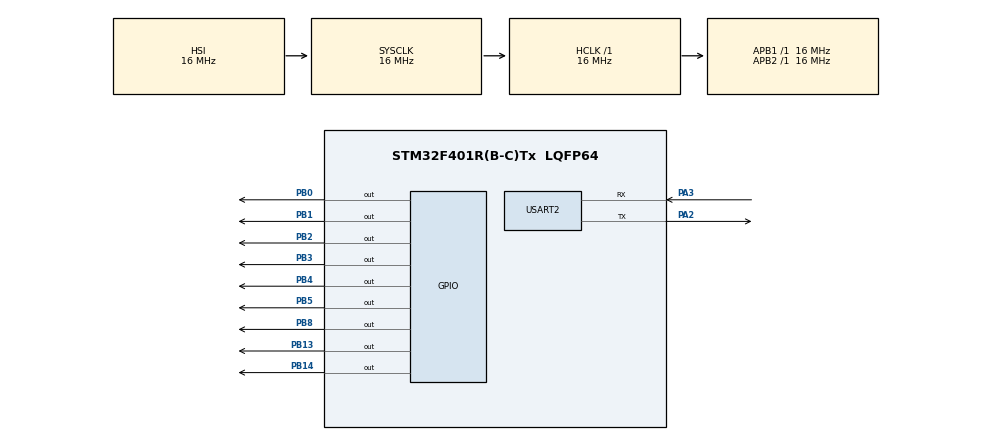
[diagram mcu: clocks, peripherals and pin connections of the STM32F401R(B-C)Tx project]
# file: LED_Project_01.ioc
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FREERTOS.Tasks01=LED_Task_01,24,256,StartLEDTask,Default,NULL,Dynamic,NULL,NULL;LCD_Task_02,24,256,StartLCDTask,Default,NULL,Dynamic,NULL,NULL;UART_Task_03,24,256,StartUARTTask,Default,NULL,Dynamic,NULL,NULL
Mcu.Family=STM32F4
Mcu.Name=STM32F401R(B-C)Tx
Mcu.Package=LQFP64
NVIC.PriorityGroup=NVIC_PRIORITYGROUP_4
NVIC.TIM1_BRK_TIM9_IRQn=true\:15\:0\:false\:false\:true\:false\:false\:true\:true
NVIC.TimeBase=TIM1_BRK_TIM9_IRQn
NVIC.TimeBaseIP=TIM9
NVIC.USART2_IRQn=true\:5\:0\:false\:false\:true\:true\:true\:true\:true
PA13.Mode=Serial_Wire
PA13.Signal=SYS_JTMS-SWDIO
PA14.Mode=Serial_Wire
PA14.Signal=SYS_JTCK-SWCLK
PA2.Mode=Asynchronous
PA2.Signal=USART2_TX
PA3.Mode=Asynchronous
PA3.Signal=USART2_RX
PB0.Signal=GPIO_Output
PB1.Signal=GPIO_Output
PB13.Signal=GPIO_Output
PB14.Signal=GPIO_Output
PB2.Signal=GPIO_Output
PB3.Signal=GPIO_Output
PB4.Signal=GPIO_Output
PB5.Signal=GPIO_Output
PB8.Signal=GPIO_Output
PC14-OSC32_IN.Mode=LSE-External-Oscillator
PC14-OSC32_IN.Signal=RCC_OSC32_IN
PC15-OSC32_OUT.Mode=LSE-External-Oscillator
PC15-OSC32_OUT.Signal=RCC_OSC32_OUT
PH0\ -\ OSC_IN.Mode=HSE-External-Oscillator
PH0\ -\ OSC_IN.Signal=RCC_OSC_IN
PH1\ -\ OSC_OUT.Mode=HSE-External-Oscillator
PH1\ -\ OSC_OUT.Signal=RCC_OSC_OUT
ProjectManager.HeapSize=0x200
ProjectManager.StackSize=0x400
ProjectManager.TargetToolchain=STM32CubeIDE
RCC.AHBFreq_Value=16000000
RCC.APB1Freq_Value=16000000
RCC.APB2Freq_Value=16000000
RCC.CortexFreq_Value=16000000
RCC.HSE_VALUE=25000000
RCC.HSI_VALUE=16000000
RCC.SYSCLKFreq_VALUE=16000000
RCC.VCOOutputFreq_Value=192000000
USART2.VirtualMode=VM_ASYNC
VP_FREERTOS_VS_CMSIS_V2.Mode=CMSIS_V2
VP_SYS_VS_tim9.Mode=TIM9
board=custom

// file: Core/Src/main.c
/* USER CODE BEGIN Header */
/**
 ******************************************************************************
 * @file           : main.c
 * @brief          : Main program body
 ******************************************************************************
 * @attention
 *
 * Copyright (c) 2026 STMicroelectronics.
 * All rights reserved.
 *
 * This software is licensed under terms that can be found in the LICENSE file
 * in the root directory of this software component.
 * If no LICENSE file comes with this software, it is provided AS-IS.
 *
 ******************************************************************************
 */

/* USER CODE BEGIN Header */
/**
 ******************************************************************************
 * @file           : main.c
 * @brief          : Project 1 - LED + LCD + UART using FreeRTOS
 ******************************************************************************
 * Project:
 * STM32F401RBT6
 *
 * Concepts:
 * - GPIO
 * - GPIO Clock
 * - System Clock
 * - SysTick
 * - LED
 * - LCD
 * - UART2 Debugging
 * - FreeRTOS Tasks
 * - osDelay()
 * - Task Priority
 * - Context Switching
 * - SWD
 * - Registers
 *
 ******************************************************************************
 */
/* USER CODE END Header */

/* USER CODE END Header */
#include "main.h"
#include "cmsis_os.h"

/* USER CODE BEGIN Includes */
#include "komal_lcd_driver.h"
#include <string.h>
/* USER CODE END Includes */

/* USER CODE BEGIN PD */

/* LED Pin Definitions */
#define RED_LED_PIN       GPIO_PIN_13
#define GREEN_LED_PIN     GPIO_PIN_14
#define LED_PORT          GPIOB

/* LED timing */
#define LED_DELAY_MS      1000U

/* USER CODE END PD */

UART_HandleTypeDef huart2;

/* Definitions for LED_Task_01 */
osThreadId_t LED_Task_01Handle;
const osThreadAttr_t LED_Task_01_attributes = { .name = "LED_Task_01",
		.stack_size = 256 * 4, .priority = (osPriority_t) osPriorityNormal, };
/* Definitions for LCD_Task_02 */
osThreadId_t LCD_Task_02Handle;
const osThreadAttr_t LCD_Task_02_attributes = { .name = "LCD_Task_02",
		.stack_size = 256 * 4, .priority = (osPriority_t) osPriorityNormal, };
/* Definitions for UART_Task_03 */
osThreadId_t UART_Task_03Handle;
const osThreadAttr_t UART_Task_03_attributes = { .name = "UART_Task_03",
		.stack_size = 256 * 4, .priority = (osPriority_t) osPriorityNormal, };

void SystemClock_Config(void);
static void MX_GPIO_Init(void);
static void MX_USART2_UART_Init(void);
void StartLEDTask(void *argument);
void StartLCDTask(void *argument);
void StartUARTTask(void *argument);

/* USER CODE BEGIN 0 */

/**
 * @brief Send string through UART2
 *
 * This function is used only for UART debugging.
 */
static void UART_Debug(char *message) {
	HAL_UART_Transmit(&huart2, (uint8_t*) message, strlen(message),
			HAL_MAX_DELAY);
}

/* USER CODE END 0 */

int main(void) {

	/* MCU Configuration--------------------------------------------------------*/

	/* Reset of all peripherals, Initializes the Flash interface and the Systick. */
	HAL_Init();

	/* Configure the system clock */
	SystemClock_Config();

	/* Initialize all configured peripherals */
	MX_GPIO_Init();
	MX_USART2_UART_Init();
	/* USER CODE BEGIN 2 */

	/*
	 * Initialize LCD before starting RTOS scheduler.
	 *
	 * LCD driver:
	 * PB0  -> D4
	 * PB1  -> D5
	 * PB2  -> D6
	 * PB3  -> D7
	 * PB4  -> RS
	 * PB5  -> RW
	 * PB8  -> EN
	 */
	LCD_Init();

	/*
	 * Initial LCD status
	 */
	LCD_Clear();

	LCD_SetCursor(1, 1);
	LCD_String("RED LED: OFF   ");

	LCD_SetCursor(2, 1);
	LCD_String("GREEN LED: OFF");

	/*
	 * Initial UART debug message
	 */
	UART_Debug("\r\n");
	UART_Debug("================================\r\n");
	UART_Debug(" Project 1 Started\r\n");
	UART_Debug(" LED + LCD + UART + FreeRTOS\r\n");
	UART_Debug("================================\r\n");
	UART_Debug("RED LED   : OFF\r\n");
	UART_Debug("GREEN LED : OFF\r\n\r\n");

	/* USER CODE END 2 */

	/* Init scheduler */
	osKernelInitialize();

	/* Create the thread(s) */
	/* creation of LED_Task_01 */
	LED_Task_01Handle = osThreadNew(StartLEDTask, NULL,
			&LED_Task_01_attributes);

	/* creation of LCD_Task_02 */
	LCD_Task_02Handle = osThreadNew(StartLCDTask, NULL,
			&LCD_Task_02_attributes);

	/* creation of UART_Task_03 */
	UART_Task_03Handle = osThreadNew(StartUARTTask, NULL,
			&UART_Task_03_attributes);

	/* Start scheduler */
	osKernelStart();

	/* We should never get here as control is now taken by the scheduler */

	/* Infinite loop */
	while (1) {

	}
}

void SystemClock_Config(void) {
	RCC_OscInitTypeDef RCC_OscInitStruct = { 0 };
	RCC_ClkInitTypeDef RCC_ClkInitStruct = { 0 };

	/** Configure the main internal regulator output voltage
	 */
	__HAL_RCC_PWR_CLK_ENABLE();
	__HAL_PWR_VOLTAGESCALING_CONFIG(PWR_REGULATOR_VOLTAGE_SCALE2);

	/** Initializes the RCC Oscillators according to the specified parameters
	 * in the RCC_OscInitTypeDef structure.
	 */
	RCC_OscInitStruct.OscillatorType = RCC_OSCILLATORTYPE_HSI;
	RCC_OscInitStruct.HSIState = RCC_HSI_ON;
	RCC_OscInitStruct.HSICalibrationValue = RCC_HSICALIBRATION_DEFAULT;
	RCC_OscInitStruct.PLL.PLLState = RCC_PLL_NONE;
	if (HAL_RCC_OscConfig(&RCC_OscInitStruct) != HAL_OK) {
		Error_Handler();
	}

	/** Initializes the CPU, AHB and APB buses clocks
	 */
	RCC_ClkInitStruct.ClockType = RCC_CLOCKTYPE_HCLK | RCC_CLOCKTYPE_SYSCLK
			| RCC_CLOCKTYPE_PCLK1 | RCC_CLOCKTYPE_PCLK2;
	RCC_ClkInitStruct.SYSCLKSource = RCC_SYSCLKSOURCE_HSI;
	RCC_ClkInitStruct.AHBCLKDivider = RCC_SYSCLK_DIV1;
	RCC_ClkInitStruct.APB1CLKDivider = RCC_HCLK_DIV1;
	RCC_ClkInitStruct.APB2CLKDivider = RCC_HCLK_DIV1;

	if (HAL_RCC_ClockConfig(&RCC_ClkInitStruct, FLASH_LATENCY_0) != HAL_OK) {
		Error_Handler();
	}
}

static void MX_USART2_UART_Init(void) {

	huart2.Instance = USART2;
	huart2.Init.BaudRate = 115200;
	huart2.Init.WordLength = UART_WORDLENGTH_8B;
	huart2.Init.StopBits = UART_STOPBITS_1;
	huart2.Init.Parity = UART_PARITY_NONE;
	huart2.Init.Mode = UART_MODE_TX_RX;
	huart2.Init.HwFlowCtl = UART_HWCONTROL_NONE;
	huart2.Init.OverSampling = UART_OVERSAMPLING_16;
	if (HAL_UART_Init(&huart2) != HAL_OK) {
		Error_Handler();
	}

}

static void MX_GPIO_Init(void) {
	GPIO_InitTypeDef GPIO_InitStruct = { 0 };

	/* GPIO Ports Clock Enable */
	__HAL_RCC_GPIOC_CLK_ENABLE();
	__HAL_RCC_GPIOH_CLK_ENABLE();
	__HAL_RCC_GPIOA_CLK_ENABLE();
	__HAL_RCC_GPIOB_CLK_ENABLE();

	/*Configure GPIO pin Output Level */
	HAL_GPIO_WritePin(GPIOB,
			GPIO_PIN_0 | GPIO_PIN_1 | GPIO_PIN_2 | GPIO_PIN_13 | GPIO_PIN_14
					| GPIO_PIN_3 | GPIO_PIN_4 | GPIO_PIN_5 | GPIO_PIN_8,
			GPIO_PIN_RESET);

	/*Configure GPIO pins : PB0 PB1 PB2 PB13
	 PB14 PB3 PB4 PB5
	 PB8 */
	GPIO_InitStruct.Pin = GPIO_PIN_0 | GPIO_PIN_1 | GPIO_PIN_2 | GPIO_PIN_13
			| GPIO_PIN_14 | GPIO_PIN_3 | GPIO_PIN_4 | GPIO_PIN_5 | GPIO_PIN_8;
	GPIO_InitStruct.Mode = GPIO_MODE_OUTPUT_PP;
	GPIO_InitStruct.Pull = GPIO_NOPULL;
	GPIO_InitStruct.Speed = GPIO_SPEED_FREQ_LOW;
	HAL_GPIO_Init(GPIOB, &GPIO_InitStruct);

}

void StartLEDTask(void *argument) {
	/* USER CODE BEGIN 5 */

	/* Prevent compiler warning */
	(void) argument;

	for (;;) {
		/*
		 * Turn both LEDs ON
		 */
		HAL_GPIO_WritePin(LED_PORT, RED_LED_PIN, GPIO_PIN_SET);

		HAL_GPIO_WritePin(LED_PORT, GREEN_LED_PIN, GPIO_PIN_SET);

		/*
		 * LED ON for 1 second
		 */
		osDelay(LED_DELAY_MS);

		/*
		 * Turn both LEDs OFF
		 */
		HAL_GPIO_WritePin(LED_PORT, RED_LED_PIN, GPIO_PIN_RESET);

		HAL_GPIO_WritePin(LED_PORT, GREEN_LED_PIN, GPIO_PIN_RESET);

		/*
		 * LED OFF for 1 second
		 */
		osDelay(LED_DELAY_MS);
	}

	/* USER CODE END 5 */
}

void StartLCDTask(void *argument) {
	/* USER CODE BEGIN StartLCDTask */

	GPIO_PinState redState;
	GPIO_PinState greenState;

	(void) argument;

	for (;;) {
		/*
		 * Read RED LED state
		 */
		redState = HAL_GPIO_ReadPin(LED_PORT, RED_LED_PIN);

		/*
		 * Read GREEN LED state
		 */
		greenState = HAL_GPIO_ReadPin(LED_PORT, GREEN_LED_PIN);

		/*
		 * First line - RED LED
		 */
		LCD_SetCursor(1, 1);

		if (redState == GPIO_PIN_SET) {
			LCD_String("RED LED: ON OK  ");
		} else {
			LCD_String("RED LED: OFF   ");
		}

		/*
		 * Second line - GREEN LED
		 */
		LCD_SetCursor(2, 1);

		if (greenState == GPIO_PIN_SET) {
			LCD_String("GREEN LED: ON OK");
		} else {
			LCD_String("GREEN LED: OFF  ");
		}

		/*
		 * Give CPU time to other tasks.
		 *
		 * This is important for demonstrating
		 * RTOS task scheduling/context switching.
		 */
		osDelay(100);
	}

	/* USER CODE END StartLCDTask */
}

void StartUARTTask(void *argument) {
	/* USER CODE BEGIN StartUARTTask */

	GPIO_PinState redState;
	GPIO_PinState greenState;

	(void) argument;

	for (;;) {
		/*
		 * Read RED LED state
		 */
		redState = HAL_GPIO_ReadPin(LED_PORT, RED_LED_PIN);

		/*
		 * Read GREEN LED state
		 */
		greenState = HAL_GPIO_ReadPin(LED_PORT, GREEN_LED_PIN);

		/*
		 * Print RED LED status
		 */
		if (redState == GPIO_PIN_SET) {
			UART_Debug("[LED] RED LED   : ON\r\n");
		} else {
			UART_Debug("[LED] RED LED   : OFF\r\n");
		}

		/*
		 * Print GREEN LED status
		 */
		if (greenState == GPIO_PIN_SET) {
			UART_Debug("[LED] GREEN LED : ON\r\n");
		} else {
			UART_Debug("[LED] GREEN LED : OFF\r\n");
		}

		UART_Debug("\r\n");

		/*
		 * UART task periodically executes.
		 */
		osDelay(100);
	}

	/* USER CODE END StartUARTTask */
}

void HAL_TIM_PeriodElapsedCallback(TIM_HandleTypeDef *htim) {
	if (htim->Instance == TIM9) {
		HAL_IncTick();
	}
}

void Error_Handler(void) {
	__disable_irq();
	while (1) {
	}
}
